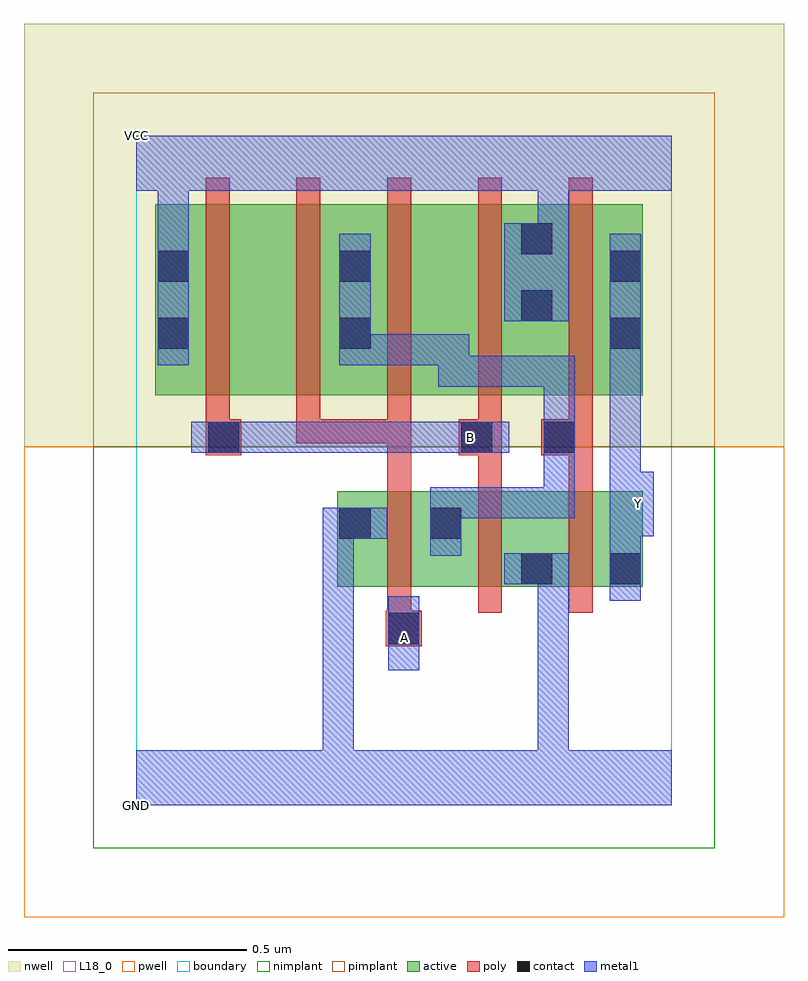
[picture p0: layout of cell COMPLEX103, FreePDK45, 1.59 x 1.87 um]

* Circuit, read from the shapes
.subckt COMPLEX103 A B GND VCC Y
M1 n1 A GND VSUBS nfet w=0.2u l=0.05u
M2 GND B n1 VSUBS nfet w=0.2u l=0.05u
M3 Y n1 GND VSUBS nfet w=0.2u l=0.05u
M4 n2 B VCC n3 pfet w=0.4u l=0.05u
M5 n1 A n2 n3 pfet w=0.4u l=0.05u
M6 n4 A n1 n3 pfet w=0.4u l=0.05u
M7 VCC B n4 n3 pfet w=0.4u l=0.05u
M8 Y n1 VCC n3 pfet w=0.4u l=0.05u
.ends

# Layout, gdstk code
import gdstk
lib = gdstk.Library(unit=1e-6, precision=1e-09)
def R(c, l, rs):  # rectangles x0, y0, x1, y1
    for r in rs: c.add(gdstk.rectangle(r[:2], r[2:], *l))
def A(c, l, x, y, w, h, nx, ny, dx, dy):  # array of equal rectangles
    R(c, l, [(x+i*dx, y+j*dy, x+i*dx+w, y+j*dy+h) for i in range(nx) for j in range(ny)])
active = (1, 0)
pwell = (2, 0)
nwell = (3, 0)
nimplant = (4, 0)
pimplant = (5, 0)
poly = (9, 0)
contact = (10, 0)
metal1 = (11, 0)
L18_0 = (18, 0)
boundary = (235, 0)

complex103 = lib.new_cell('COMPLEX103')
R(complex103, active, [(0.42,0.457,0.495,0.657), (0.42,0.457,0.685,0.657), (0.61,0.457,0.875,0.657), (0.61,0.457,0.685,0.627), (0.8,0.457,1.06,0.657), (0.8,0.457,0.875,0.597), (0.985,0.457,1.06,0.657), (0.04,0.857,0.265,1.257), (0.04,0.857,0.115,1.205), (0.265,0.857,0.495,1.257), (0.42,0.857,0.645,1.257), (0.645,0.857,0.875,1.257), (0.8,0.857,1.06,1.257), (0.985,0.857,1.06,1.2), (0.42,0.907,0.495,1.2), (0.8,0.907,0.875,1.222)])
R(complex103, pwell, [(-0.235,-0.235,1.355,0.75)])
R(complex103, nwell, [(-0.235,0.75,1.355,1.635)])
R(complex103, nimplant, [(-0.09,-0.09,1.21,0.75)])
R(complex103, pimplant, [(-0.09,0.75,1.21,1.49)])
A(complex103, poly, 0.525, 0.402, 0.05, 0.31, 3, 1, 0.19, 0)
A(complex103, poly, 0.145, 0.757, 0.05, 0.095, 5, 1, 0.19, 0)
A(complex103, poly, 0.145, 0.802, 0.05, 0.51, 5, 1, 0.19, 0)
R(complex103, poly, [(0.522,0.332,0.597,0.407), (0.525,0.357,0.575,0.452), (0.525,0.662,0.575,0.807), (0.715,0.662,0.765,0.782), (0.905,0.662,0.955,0.782), (0.145,0.732,0.22,0.807), (0.675,0.732,0.765,0.807), (0.847,0.732,0.955,0.807), (0.335,0.757,0.575,0.807), (0.335,0.757,0.385,0.807), (0.335,0.757,0.385,0.807), (0.335,0.757,0.385,0.807), (0.525,0.757,0.575,0.807)])
R(complex103, contact, [(0.527,0.337,0.592,0.402), (0.805,0.462,0.87,0.527), (0.99,0.462,1.055,0.527), (0.425,0.557,0.49,0.622), (0.615,0.557,0.68,0.622), (0.15,0.737,0.215,0.802), (0.68,0.737,0.745,0.802), (0.852,0.737,0.917,0.802), (0.045,0.955,0.11,1.02), (0.425,0.955,0.49,1.02), (0.99,0.955,1.055,1.02), (0.805,1.012,0.87,1.077), (0.045,1.095,0.11,1.16), (0.425,1.095,0.49,1.16), (0.99,1.095,1.055,1.16), (0.805,1.152,0.87,1.217)])
R(complex103, metal1, [(0,0,1.12,0.115), (0.39,0.05,0.455,0.115), (0.39,0.05,0.455,0.115), (0.39,0.05,0.455,0.115), (0.39,0.05,0.455,0.115), (0.39,0.05,0.455,0.622), (0.84,0.05,0.905,0.115), (0.84,0.05,0.905,0.115), (0.84,0.05,0.905,0.115), (0.84,0.05,0.905,0.115), (0.84,0.05,0.905,0.115), (0.84,0.05,0.905,0.115), (0.84,0.05,0.905,0.527), (0.527,0.282,0.592,0.437), (0.99,0.427,1.055,0.562), (0.77,0.462,0.905,0.527), (0.99,0.497,1.055,0.627), (0.615,0.522,0.68,0.657), (0.39,0.557,0.455,0.622), (0.39,0.557,0.455,0.622), (0.39,0.557,0.525,0.622), (0.99,0.562,1.082,0.697), (0.615,0.592,0.68,0.657), (0.615,0.592,0.68,0.665), (0.615,0.6,0.917,0.665), (0.852,0.6,0.917,0.665), (0.852,0.6,0.917,0.767), (0.99,0.632,1.055,0.985), (0.852,0.702,0.917,0.837), (0.852,0.702,0.917,0.767), (0.852,0.702,0.917,0.767), (0.852,0.702,0.917,0.94), (0.115,0.737,0.25,0.802), (0.185,0.737,0.25,0.802), (0.185,0.737,0.25,0.802), (0.185,0.737,0.387,0.802), (0.322,0.737,0.387,0.802), (0.322,0.737,0.525,0.802), (0.46,0.737,0.525,0.802), (0.46,0.737,0.525,0.802), (0.46,0.737,0.525,0.802), (0.46,0.737,0.697,0.802), (0.632,0.737,0.697,0.802), (0.632,0.737,0.697,0.802), (0.632,0.737,0.78,0.802), (0.632,0.875,0.697,0.94), (0.632,0.875,0.697,0.94), (0.632,0.875,0.917,0.94), (0.632,0.875,0.697,0.985), (0.852,0.875,0.917,0.94), (0.045,0.92,0.11,1.195), (0.425,0.92,0.49,1.195), (0.425,0.92,0.542,0.985), (0.477,0.92,0.542,0.985), (0.477,0.92,0.697,0.985), (0.99,0.92,1.055,1.195), (0.77,1.012,0.905,1.217), (0.045,1.13,0.11,1.35), (0.84,1.152,0.905,1.35), (0,1.285,1.12,1.4)])
R(complex103, L18_0, [(0,0,1.12,0.115), (0.39,0.05,0.455,0.115), (0.39,0.05,0.455,0.115), (0.39,0.05,0.455,0.115), (0.39,0.05,0.455,0.115), (0.39,0.05,0.455,0.622), (0.84,0.05,0.905,0.115), (0.84,0.05,0.905,0.115), (0.84,0.05,0.905,0.115), (0.84,0.05,0.905,0.115), (0.84,0.05,0.905,0.115), (0.84,0.05,0.905,0.115), (0.84,0.05,0.905,0.527), (0.527,0.282,0.592,0.437), (0.527,0.317,0.592,0.382), (0.99,0.427,1.055,0.562), (0.77,0.462,0.905,0.527), (0.99,0.497,1.055,0.627), (0.39,0.557,0.525,0.622), (0.39,0.557,0.455,0.622), (0.39,0.557,0.455,0.622), (0.99,0.562,1.082,0.697), (1.017,0.597,1.082,0.662), (0.99,0.632,1.055,0.985), (0.115,0.737,0.25,0.802), (0.185,0.737,0.25,0.802), (0.185,0.737,0.25,0.802), (0.185,0.737,0.387,0.802), (0.322,0.737,0.387,0.802), (0.322,0.737,0.525,0.802), (0.46,0.737,0.525,0.802), (0.46,0.737,0.525,0.802), (0.46,0.737,0.525,0.802), (0.46,0.737,0.697,0.802), (0.632,0.737,0.697,0.802), (0.632,0.737,0.697,0.802), (0.632,0.737,0.78,0.802), (0.667,0.737,0.732,0.802), (0.045,0.92,0.11,1.195), (0.99,0.92,1.055,1.195), (0.77,1.012,0.905,1.217), (0.045,1.13,0.11,1.35), (0.84,1.152,0.905,1.35), (0,1.285,1.12,1.4)])
R(complex103, boundary, [(0,0,1.12,1.4)])
complex103.add(gdstk.Label('A', (0.56,0.35), layer=11, texttype=0))
complex103.add(gdstk.Label('B', (0.7,0.77), layer=11, texttype=0))
complex103.add(gdstk.Label('Y', (1.05,0.63), layer=11, texttype=0))
complex103.add(gdstk.Label('VCC', (0,1.4), layer=11, texttype=0))
complex103.add(gdstk.Label('GND', (0,0), layer=11, texttype=0))

lib.write_gds('COMPLEX103.gds')
